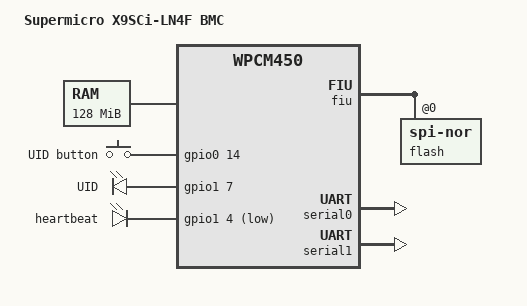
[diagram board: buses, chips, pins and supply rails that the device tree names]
// SPDX-License-Identifier: GPL-2.0-only OR BSD-2-Clause
// Copyright 2021 Jonathan Neuschäfer

/dts-v1/;

/* The last 16 MiB are dedicated to the GPU */
/memreserve/ 0x07000000 0x01000000;

#include "nuvoton-wpcm450.dtsi"

#include <dt-bindings/input/linux-event-codes.h>
#include <dt-bindings/gpio/gpio.h>

/ {
	model = "Supermicro X9SCi-LN4F BMC";
	compatible = "supermicro,x9sci-ln4f-bmc", "nuvoton,wpcm450";

	aliases {
		serial0 = &serial0;
		serial1 = &serial1;
	};

	chosen {
		stdout-path = "serial0:115200n8";
	};

	memory@0 {
		device_type = "memory";
		reg = <0 0x08000000>; /* 128 MiB */
	};

	gpio-keys {
		compatible = "gpio-keys";
		pinctrl-names = "default";
		pinctrl-0 = <&key_pins>;

		uid {
			label = "UID button";
			linux,code = <KEY_HOME>;
			gpios = <&gpio0 14 GPIO_ACTIVE_HIGH>;
		};
	};

	gpio-leds {
		compatible = "gpio-leds";
		pinctrl-names = "default";
		pinctrl-0 = <&led_pins>;

		uid {
			label = "UID";
			gpios = <&gpio1 7 GPIO_ACTIVE_HIGH>;
		};

		heartbeat {
			label = "heartbeat";
			gpios = <&gpio1 4 GPIO_ACTIVE_LOW>;
		};
	};
};

&fiu {
	status = "okay";

	flash@0 {
		reg = <0>;
		compatible = "jedec,spi-nor";
	};
};

&gpio0 {
	gpio-line-names =
		/* 0 */ "", "host-reset-control-n", "", "", "", "", "", "",
		/* 8 */ "", "", "", "", "power-chassis-control-n", "", "uid-button", "";
};

&gpio1 {
	gpio-line-names =
		/* 0 */ "", "", "", "", "led-heartbeat", "", "", "led-uid",
		/* 8 */ "", "", "", "", "", "", "", "";
};

&gpio4 {
	gpio-line-names =
		/* 0 */ "", "", "", "", "", "", "", "",
		/* 8 */ "", "", "", "", "", "", "", "power-chassis-good";
};

&pinctrl {
	key_pins: mux-keys {
		groups = "gspi", "sspi";
		function = "gpio";
	};

	led_pins: mux-leds {
		groups = "hg3", "hg0", "pwm4";
		function = "gpio";
	};
};

&serial0 {
	/*
	 * Debug serial port. TX is exposed on the right pad of unpopulated
	 * resistor R1247, RX on the right pad of R1162.
	 */
	status = "okay";
};

&serial1 {
	/* "Serial over LAN" port. Connected to ttyS2 of the host system. */
	status = "okay";
};
